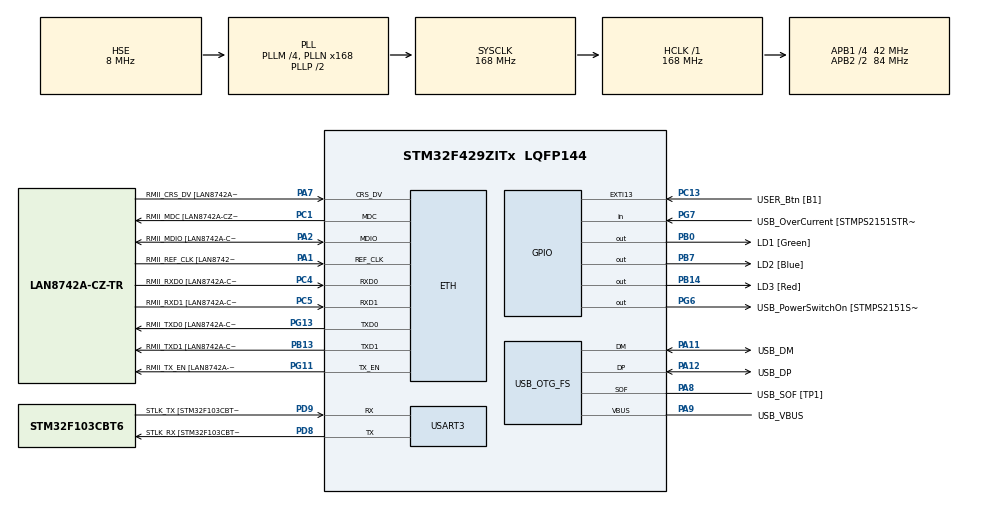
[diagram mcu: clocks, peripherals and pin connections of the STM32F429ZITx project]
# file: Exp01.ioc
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ETH.MediaInterface=ETH_MEDIA_INTERFACE_RMII
Mcu.Family=STM32F4
Mcu.Name=STM32F429ZITx
Mcu.Package=LQFP144
NVIC.PriorityGroup=NVIC_PRIORITYGROUP_4
PA1.GPIO_Label=RMII_REF_CLK [LAN8742A-CZ-TR_REFCLK0]
PA1.Mode=RMII
PA1.Signal=ETH_REF_CLK
PA10.GPIO_Label=USB_ID
PA10.Signal=USB_OTG_FS_ID
PA11.GPIO_Label=USB_DM
PA11.Mode=Device_Only
PA11.Signal=USB_OTG_FS_DM
PA12.GPIO_Label=USB_DP
PA12.Mode=Device_Only
PA12.Signal=USB_OTG_FS_DP
PA13.GPIO_Label=TMS
PA13.Mode=Serial_Wire
PA13.Signal=SYS_JTMS-SWDIO
PA14.GPIO_Label=TCK
PA14.Mode=Serial_Wire
PA14.Signal=SYS_JTCK-SWCLK
PA2.GPIO_Label=RMII_MDIO [LAN8742A-CZ-TR_MDIO]
PA2.Mode=RMII
PA2.Signal=ETH_MDIO
PA7.GPIO_Label=RMII_CRS_DV [LAN8742A-CZ-TR_CRS_DV]
PA7.Mode=RMII
PA7.Signal=ETH_CRS_DV
PA8.GPIO_Label=USB_SOF [TP1]
PA8.Mode=Activate_SOF_FS
PA8.Signal=USB_OTG_FS_SOF
PA9.GPIO_Label=USB_VBUS
PA9.Mode=Activate_VBUS
PA9.Signal=USB_OTG_FS_VBUS
PB0.GPIO_Label=LD1 [Green]
PB0.Signal=GPIO_Output
PB13.GPIO_Label=RMII_TXD1 [LAN8742A-CZ-TR_TXD1]
PB13.Mode=RMII
PB13.Signal=ETH_TXD1
PB14.GPIO_Label=LD3 [Red]
PB14.Signal=GPIO_Output
PB7.GPIO_Label=LD2 [Blue]
PB7.Signal=GPIO_Output
PC1.GPIO_Label=RMII_MDC [LAN8742A-CZ-TR_MDC]
PC1.Mode=RMII
PC1.Signal=ETH_MDC
PC13.GPIO_Label=USER_Btn [B1]
PC13.Signal=GPXTI13
PC14/OSC32_IN.Mode=LSE-External-Oscillator
PC14/OSC32_IN.Signal=RCC_OSC32_IN
PC15/OSC32_OUT.Mode=LSE-External-Oscillator
PC15/OSC32_OUT.Signal=RCC_OSC32_OUT
PC4.GPIO_Label=RMII_RXD0 [LAN8742A-CZ-TR_RXD0]
PC4.Mode=RMII
PC4.Signal=ETH_RXD0
PC5.GPIO_Label=RMII_RXD1 [LAN8742A-CZ-TR_RXD1]
PC5.Mode=RMII
PC5.Signal=ETH_RXD1
PD8.GPIO_Label=STLK_RX [STM32F103CBT6_PA3]
PD8.Mode=Asynchronous
PD8.Signal=USART3_TX
PD9.GPIO_Label=STLK_TX [STM32F103CBT6_PA2]
PD9.Mode=Asynchronous
PD9.Signal=USART3_RX
PG11.GPIO_Label=RMII_TX_EN [LAN8742A-CZ-TR_TXEN]
PG11.Mode=RMII
PG11.Signal=ETH_TX_EN
PG13.GPIO_Label=RMII_TXD0 [LAN8742A-CZ-TR_TXD0]
PG13.Mode=RMII
PG13.Signal=ETH_TXD0
PG6.GPIO_Label=USB_PowerSwitchOn [STMPS2151STR_EN]
PG6.Signal=GPIO_Output
PG7.GPIO_Label=USB_OverCurrent [STMPS2151STR_FAULT]
PG7.Signal=GPIO_Input
PH0/OSC_IN.GPIO_Label=MCO [STM32F103CBT6_PA8]
PH0/OSC_IN.Mode=HSE-External-Clock-Source
PH0/OSC_IN.Signal=RCC_OSC_IN
PH1/OSC_OUT.Mode=HSE-External-Clock-Source
PH1/OSC_OUT.Signal=RCC_OSC_OUT
ProjectManager.HeapSize=0x200
ProjectManager.StackSize=0x400
ProjectManager.TargetToolchain=MDK-ARM V5.27
RCC.48MHZClocksFreq_Value=48000000
RCC.AHBFreq_Value=168000000
RCC.APB1CLKDivider=RCC_HCLK_DIV4
RCC.APB1Freq_Value=42000000
RCC.APB1TimFreq_Value=84000000
RCC.APB2CLKDivider=RCC_HCLK_DIV2
RCC.APB2Freq_Value=84000000
RCC.APB2TimCLKDivider=2
RCC.APB2TimFreq_Value=168000000
RCC.CortexFreq_Value=168000000
RCC.HCLKFreq_Value=168000000
RCC.HSE_VALUE=8000000
RCC.HSI_VALUE=16000000
RCC.PLLM=4
RCC.PLLMUL=RCC_PLL_MUL9
RCC.PLLN=168
RCC.PLLQ=7
RCC.PRESCALERUSB=RCC_USBCLKSOURCE_PLL_DIV1_5
RCC.SYSCLKFreq_VALUE=168000000
RCC.SYSCLKSource=RCC_SYSCLKSOURCE_PLLCLK
RCC.SYSCLKSourceVirtual=RCC_SYSCLKSOURCE_PLLCLK
RCC.USBFreq_Value=48000000
RCC.VCOOutputFreq_Value=336000000
USART3.VirtualMode=VM_ASYNC
USB_OTG_FS.VirtualMode=Device_Only
VP_TIM6_VS_ClockSourceINT.Mode=Enable_Timer
board=NUCLEO-F429ZI

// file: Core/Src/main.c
/* USER CODE BEGIN Header */
/**
  ******************************************************************************
  * @file           : main.c
  * @brief          : Main program body
  ******************************************************************************
  * @attention
  *
  * <h2><center>&copy; Copyright (c) 2021 STMicroelectronics.
  * All rights reserved.</center></h2>
  *
  * This software component is licensed by ST under BSD 3-Clause license,
  * the "License"; You may not use this file except in compliance with the
  * License. You may obtain a copy of the License at:
  *                        opensource.org/licenses/BSD-3-Clause
  *
  ******************************************************************************
  */
/* USER CODE END Header */
#include "main.h"
#include "eth.h"
#include "tim.h"
#include "usart.h"
#include "usb_otg.h"
#include "gpio.h"

void SystemClock_Config(void);

int main(void)
{
  /* USER CODE BEGIN 1 */
	//QUESTE SONO LE VARIABILI DA USARE
	unsigned int cc=0;
	unsigned int attesa= 5000000;
	#define interruttore_lampadina  GPIOB->BSRR
	#define accendi_lampadina (1<<0)
	#define spegni_lampadina (1<<(0+16))

  /* USER CODE END 1 */

  /* MCU Configuration--------------------------------------------------------*/

  /* Reset of all peripherals, Initializes the Flash interface and the Systick. */
  HAL_Init();

  /* Configure the system clock */
  SystemClock_Config();

  /* Initialize all configured peripherals */

	//Lasciate perdere queste istruzioni per ora
  MX_GPIO_Init();
  MX_ETH_Init();
  MX_USART3_UART_Init();
  MX_USB_OTG_FS_PCD_Init();
  MX_TIM6_Init();
	TIM6->PSC= 20000;
	TIM6->ARR=4200;
	TIM6-> CR1 =TIM_CR1_CEN;

  /* Infinite loop */
  /* USER CODE BEGIN WHILE */
	TIM6->SR = 0x0;
	int button_flag = 0;
  while (1)
  {
    /* USER CODE END WHILE */

    /* USER CODE BEGIN 3 */

		//check timer flag, if timer got to arr
		if(TIM6->SR == TIM_SR_UIF){
			//if led1 is on
			if(GPIOB->ODR & GPIO_ODR_OD0_Msk){
				//turn off led1
				GPIOB->ODR = GPIOB->ODR & ~GPIO_ODR_OD0_Msk;
			}
			else {
				//turn on led1
				GPIOB->ODR = GPIOB->ODR | GPIO_ODR_OD0_Msk;
			}
			//reset timer flag
			TIM6->SR = 0x0;
		}

		//if blue button in pressed
		if(GPIOC->IDR & GPIO_IDR_ID13){

			//check if button is not being continuosly pressed
			if (button_flag == 0){
				//if led2 is on
				if(GPIOB->ODR & GPIO_ODR_OD7_Msk){
					//turn off led2
					GPIOB->ODR = GPIOB->ODR & ~GPIO_ODR_OD7_Msk;
				}
				else {
					//turn on led2
					GPIOB->ODR = GPIOB->ODR | GPIO_ODR_OD7_Msk;
				}
			}
			button_flag = 1;
		} else {
			button_flag = 0;
		}
  }
  /* USER CODE END 3 */
}

void SystemClock_Config(void)
{
  RCC_OscInitTypeDef RCC_OscInitStruct = {0};
  RCC_ClkInitTypeDef RCC_ClkInitStruct = {0};

  /** Configure the main internal regulator output voltage
  */
  __HAL_RCC_PWR_CLK_ENABLE();
  __HAL_PWR_VOLTAGESCALING_CONFIG(PWR_REGULATOR_VOLTAGE_SCALE1);
  /** Initializes the RCC Oscillators according to the specified parameters
  * in the RCC_OscInitTypeDef structure.
  */
  RCC_OscInitStruct.OscillatorType = RCC_OSCILLATORTYPE_HSE;
  RCC_OscInitStruct.HSEState = RCC_HSE_BYPASS;
  RCC_OscInitStruct.PLL.PLLState = RCC_PLL_ON;
  RCC_OscInitStruct.PLL.PLLSource = RCC_PLLSOURCE_HSE;
  RCC_OscInitStruct.PLL.PLLM = 4;
  RCC_OscInitStruct.PLL.PLLN = 168;
  RCC_OscInitStruct.PLL.PLLP = RCC_PLLP_DIV2;
  RCC_OscInitStruct.PLL.PLLQ = 7;
  if (HAL_RCC_OscConfig(&RCC_OscInitStruct) != HAL_OK)
  {
    Error_Handler();
  }
  /** Initializes the CPU, AHB and APB buses clocks
  */
  RCC_ClkInitStruct.ClockType = RCC_CLOCKTYPE_HCLK|RCC_CLOCKTYPE_SYSCLK
                              |RCC_CLOCKTYPE_PCLK1|RCC_CLOCKTYPE_PCLK2;
  RCC_ClkInitStruct.SYSCLKSource = RCC_SYSCLKSOURCE_PLLCLK;
  RCC_ClkInitStruct.AHBCLKDivider = RCC_SYSCLK_DIV1;
  RCC_ClkInitStruct.APB1CLKDivider = RCC_HCLK_DIV4;
  RCC_ClkInitStruct.APB2CLKDivider = RCC_HCLK_DIV2;

  if (HAL_RCC_ClockConfig(&RCC_ClkInitStruct, FLASH_LATENCY_5) != HAL_OK)
  {
    Error_Handler();
  }
}

void Error_Handler(void)
{
  __disable_irq();
  while (1)
  {
  }
}

/************************ (C) COPYRIGHT STMicroelectronics *****END OF FILE****/
